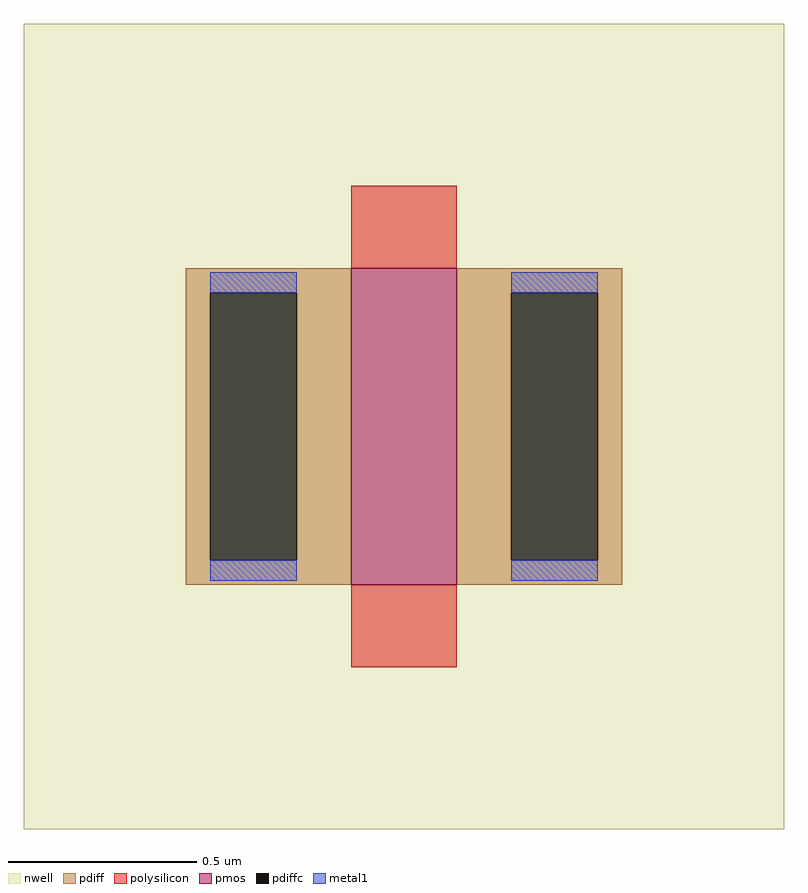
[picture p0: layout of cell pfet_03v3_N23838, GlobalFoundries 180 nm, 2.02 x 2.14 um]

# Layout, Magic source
magic
tech gf180mcuD
magscale 1 10
<< nwell >>
rect -202 -214 202 214
<< pmos >>
rect -28 -84 28 84
<< pdiff >>
rect -116 71 -28 84
rect -116 -71 -103 71
rect -57 -71 -28 71
rect -116 -84 -28 -71
rect 28 71 116 84
rect 28 -71 57 71
rect 103 -71 116 71
rect 28 -84 116 -71
<< pdiffc >>
rect -103 -71 -57 71
rect 57 -71 103 71
<< polysilicon >>
rect -28 84 28 128
rect -28 -128 28 -84
<< metal1 >>
rect -103 71 -57 82
rect -103 -82 -57 -71
rect 57 71 103 82
rect 57 -82 103 -71
<< properties >>
string gencell pfet_03v3
string library gf180mcu
string parameters w 0.840 l 0.280 m 1 nf 1 diffcov 100 polycov 100 guard 0 glc 0 grc 0 gtc 0 gbc 0 tbcov 100 rlcov 100 topc 0 botc 0 poverlap 0 doverlap 1 lmin 0.28 wmin 0.22 class mosfet full_metal 0 compatible {pfet_03v3 pfet_06v0}
<< end >>
